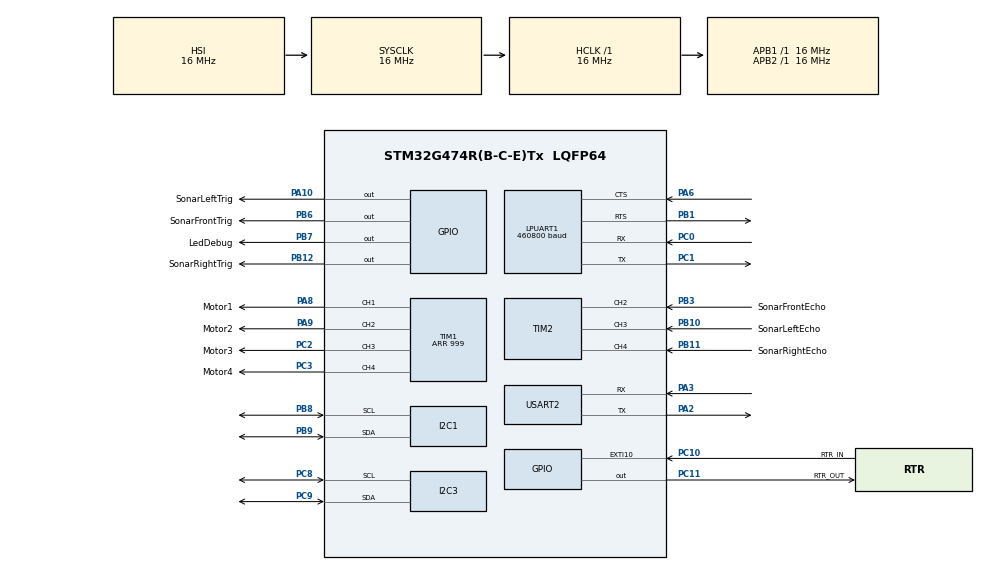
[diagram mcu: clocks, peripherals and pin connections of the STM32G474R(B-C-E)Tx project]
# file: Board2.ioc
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FREERTOS.Events01=flagsOS,Static,flagsOSControlBlock
FREERTOS.Tasks01=ReadController,40,1024,StartReadController,Default,NULL,Static,ReadControllerBuffer,ReadControllerControlBlock;ReadGyroscope,32,1024,StartReadGyroscope,Default,NULL,Static,ReadGyroscopeBuffer,ReadGyroscopeControlBlock;Supervisor,24,2048,StartSupervisor,Default,NULL,Static,SupervisorBuffer,SupervisorControlBlock;ReadSonars,8,1024,StartReadSonars,Default,NULL,Static,ReadSonarsBuffer,ReadSonarsControlBlock;StartSegger,47,128,StartSeggerTask,Default,NULL,Static,StartSeggerBuffer,StartSeggerControlBlock;Synchronization,46,128,StartSynchronization,Default,NULL,Static,SynchronizationBuffer,SynchronizationControlBlock;PollingServer,45,2048,StartPollingServer,Default,NULL,Static,PollingServerBuffer,PollingServerControlBlock;SupervisorDeg,24,2048,StartSupervisorDeg,Default,NULL,Static,SupervisorDegBuffer,SupervisorDegControlBlock
FREERTOS.Timers01=SonarMonitoring,SonarTimeout,osTimerOnce,Default,NULL,Static,SonarMonitoringControlBlock
FREERTOS.configUSE_NEWLIB_REENTRANT=1
I2C1.Speed=40
I2C1.Timing=0x005086FF
I2C3.Speed=40
I2C3.Timing=0x005086FF
LPUART1.BaudRate=460800
Mcu.Family=STM32G4
Mcu.Name=STM32G474R(B-C-E)Tx
Mcu.Package=LQFP64
NVIC.EXTI15_10_IRQn=true\:5\:0\:false\:false\:true\:true\:true\:true\:true
NVIC.I2C1_ER_IRQn=true\:5\:0\:false\:false\:true\:true\:true\:true\:true
NVIC.I2C1_EV_IRQn=true\:5\:0\:false\:false\:true\:true\:true\:true\:true
NVIC.I2C3_ER_IRQn=true\:5\:0\:false\:false\:true\:true\:true\:true\:true
NVIC.I2C3_EV_IRQn=true\:5\:0\:false\:false\:true\:true\:true\:true\:true
NVIC.LPUART1_IRQn=true\:5\:0\:false\:false\:true\:true\:true\:true\:true
NVIC.PriorityGroup=NVIC_PRIORITYGROUP_4
NVIC.TIM2_IRQn=true\:5\:0\:false\:false\:true\:true\:true\:true\:true
NVIC.TIM6_DAC_IRQn=true\:15\:0\:false\:false\:true\:false\:false\:true\:true
NVIC.TIM7_DAC_IRQn=true\:5\:0\:false\:false\:true\:true\:true\:true\:true
NVIC.TimeBase=TIM6_DAC_IRQn
NVIC.TimeBaseIP=TIM6
PA10.GPIO_Label=SonarLeftTrig
PA10.Signal=GPIO_Output
PA2.Mode=Asynchronous
PA2.Signal=USART2_TX
PA3.Mode=Asynchronous
PA3.Signal=USART2_RX
PA6.Mode=CTS_RTS
PA6.Signal=LPUART1_CTS
PA8.GPIO_Label=Motor1
PA8.Signal=S_TIM1_CH1
PA9.GPIO_Label=Motor2
PA9.Signal=S_TIM1_CH2
PB1.Mode=CTS_RTS
PB1.Signal=LPUART1_RTS
PB10.GPIO_Label=SonarLeftEcho
PB10.Signal=S_TIM2_CH3
PB11.GPIO_Label=SonarRightEcho
PB11.Signal=S_TIM2_CH4
PB12.GPIO_Label=SonarRightTrig
PB12.Signal=GPIO_Output
PB3.GPIO_Label=SonarFrontEcho
PB3.Signal=S_TIM2_CH2
PB6.GPIO_Label=SonarFrontTrig
PB6.Signal=GPIO_Output
PB7.GPIO_Label=LedDebug
PB7.Signal=GPIO_Output
PB8-BOOT0.GPIO_Pu=GPIO_PULLUP
PB8-BOOT0.Mode=I2C
PB8-BOOT0.Signal=I2C1_SCL
PB9.GPIO_Pu=GPIO_PULLUP
PB9.Mode=I2C
PB9.Signal=I2C1_SDA
PC0.GPIO_PuPd=GPIO_PULLUP
PC0.Mode=Asynchronous
PC0.Signal=LPUART1_RX
PC1.Mode=Asynchronous
PC1.Signal=LPUART1_TX
PC10.GPIO_Label=RTR_IN
PC10.GPIO_ModeDefaultEXTI=GPIO_MODE_IT_RISING
PC10.GPIO_PuPd=GPIO_PULLDOWN
PC10.Signal=GPXTI10
PC11.GPIO_Label=RTR_OUT
PC11.Signal=GPIO_Output
PC2.GPIO_Label=Motor3
PC2.Signal=S_TIM1_CH3
PC3.GPIO_Label=Motor4
PC3.Signal=S_TIM1_CH4
PC8.Mode=I2C
PC8.Signal=I2C3_SCL
PC9.Mode=I2C
PC9.Signal=I2C3_SDA
ProjectManager.HeapSize=0x200
ProjectManager.StackSize=0x400
ProjectManager.TargetToolchain=STM32CubeIDE
RCC.AHBFreq_Value=16000000
RCC.APB1Freq_Value=16000000
RCC.APB1TimFreq_Value=16000000
RCC.APB2Freq_Value=16000000
RCC.APB2TimFreq_Value=16000000
RCC.CortexFreq_Value=16000000
RCC.EXTERNAL_CLOCK_VALUE=12288000
RCC.HCLKFreq_Value=16000000
RCC.HSE_VALUE=8000000
RCC.HSI48_VALUE=48000000
RCC.HSI_VALUE=16000000
RCC.LSE_VALUE=32768
RCC.SYSCLKFreq_VALUE=16000000
RCC.USBFreq_Value=64000000
RCC.VCOOutputFreq_Value=128000000
SH.S_TIM1_CH1.0=TIM1_CH1,PWM Generation1 CH1
SH.S_TIM1_CH2.0=TIM1_CH2,PWM Generation2 CH2
SH.S_TIM1_CH3.0=TIM1_CH3,PWM Generation3 CH3
SH.S_TIM1_CH4.0=TIM1_CH4,PWM Generation4 CH4
SH.S_TIM2_CH2.0=TIM2_CH2,Input_Capture2_from_TI2
SH.S_TIM2_CH3.0=TIM2_CH3,Input_Capture3_from_TI3
SH.S_TIM2_CH4.0=TIM2_CH4,Input_Capture4_from_TI4
TIM1.Channel-PWM\ Generation1\ CH1=TIM_CHANNEL_1
TIM1.Channel-PWM\ Generation2\ CH2=TIM_CHANNEL_2
TIM1.Channel-PWM\ Generation3\ CH3=TIM_CHANNEL_3
TIM1.Channel-PWM\ Generation4\ CH4=TIM_CHANNEL_4
TIM1.PeriodNoDither=999
TIM1.PulseNoDither_1=757
TIM1.PulseNoDither_2=757
TIM1.PulseNoDither_3=757
TIM1.PulseNoDither_4=757
TIM2.Channel-Input_Capture2_from_TI2=TIM_CHANNEL_2
TIM2.Channel-Input_Capture3_from_TI3=TIM_CHANNEL_3
TIM2.Channel-Input_Capture4_from_TI4=TIM_CHANNEL_4
TIM7.Prescaler=65535
USART2.VirtualMode-Asynchronous=VM_ASYNC
VP_CRC_VS_CRC.Mode=CRC_Activate
VP_FREERTOS_VS_CMSIS_V2.Mode=CMSIS_V2
VP_SYS_VS_DBSignals.Mode=DisableDeadBatterySignals
VP_SYS_VS_tim6.Mode=TIM6
VP_TIM7_VS_ClockSourceINT.Mode=Enable_Timer
board=custom

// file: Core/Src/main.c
/* USER CODE BEGIN Header */
/**
 ******************************************************************************
 * @file           : main.c
 * @brief          : Main program body
 ******************************************************************************
 * @attention
 *
 * Copyright (c) 2025 STMicroelectronics.
 * All rights reserved.
 *
 * This software is licensed under terms that can be found in the LICENSE file
 * in the root directory of this software component.
 * If no LICENSE file comes with this software, it is provided AS-IS.
 *
 ******************************************************************************
 */
/* USER CODE END Header */
#include "main.h"
#include "cmsis_os.h"
#include "crc.h"
#include "i2c.h"
#include "usart.h"
#include "tim.h"
#include "gpio.h"

/* USER CODE BEGIN Includes */

/* UART Handler for communication inter board */
#include "uart_functions.h"

/* Simulink Model */
#include "Board2.h"

/* Drivers */
#include "pad_receiver.h"
#include "gyroscope_init.h" // #include "mpu6050.h"
#include "sonar_init.h"     // #include "HCSR04.h"
#include "motors_init.h"
/*
#include "motors_control.h"
#include "motor_constants.h"
#include "regulator.h"
*/
#include "timer.h"

/* Utility */
#include "DWT.h"
#include "print.h"
#include "debug.h"
#include "phase.h"

/* USER CODE END Includes */

/* USER CODE BEGIN PD */

#define TIM7_IN_FREQUENCY (16000000) /* 16 MHz */

/* --- DEBUG CONFIGURATIONS --- */

#if VERBOSE_DEBUG_MAIN == 1
#define PRINT_DBG(msg) printMsg(msg)
#else
#define PRINT_DBG(msg) ((void)0)
#endif
/* ---------------------------- */
/* USER CODE END PD */

/* USER CODE BEGIN PV */

volatile system_phase_t system_phase = SYNCHRONIZATION_PHASE;

timer_t timerSupervisor;

/* USER CODE END PV */

void SystemClock_Config(void);
void MX_FREERTOS_Init(void);

int main(void)
{

  /* MCU Configuration--------------------------------------------------------*/

  /* Reset of all peripherals, Initializes the Flash interface and the Systick. */
  HAL_Init();

  /* Configure the system clock */
  SystemClock_Config();

  /* Initialize all configured peripherals */
  MX_GPIO_Init();
  MX_LPUART1_UART_Init();
  MX_USART2_UART_Init();
  MX_CRC_Init();
  MX_I2C1_Init();
  MX_TIM2_Init();
  MX_TIM1_Init();
  MX_I2C3_Init();
  MX_TIM7_Init();
  /* USER CODE BEGIN 2 */

    /* Init DWT for WCET measurement */

	DWT_Init();

	/* Set UART Handlers */

	setComunicationHandler(&hlpuart1);

	setPrinterHandler(&huart2);

#if VERBOSE_DEBUG_MAIN

	clearScreen();

#endif

	PRINT_DBG("BEGIN B2 INIT...\r\n");

	/* Init Simulink Model with default values */
	Board2_initialize();
	Board2_U.remoteController = (BUS_RemoteController ) { 0, 0, 0 };
	Board2_U.gyroscope = 0;
	Board2_U.sonar = (BUS_Sonar ) { 0, 0, 0 };
	Board2_U.areSensorsValid = 0;
	Board2_U.timeoutOccurred = 0;

	/* Init drivers */
	if (Sonar_InitAll() == 1) {
		PRINT_DBG("ERROR SONAR INIT\r\n");
	}
	StartSonarTimer();

	if (MPU6050_Init(&hi2c3) == 1) {
		PRINT_DBG("ERROR GYRO INIT\r\n");
	}

	Motors_InitAll();
	Motors_StartAllPwm();
	Motors_SetDefaultCcr(720);

	if(timer_init(&timerSupervisor, &htim7, TIM7_IN_FREQUENCY) != TIMER_OK){return -1;}

  /* USER CODE END 2 */

  /* Init scheduler */
  osKernelInitialize();  /* Call init function for freertos objects (in cmsis_os2.c) */
  MX_FREERTOS_Init();

  /* Start scheduler */
  osKernelStart();

  /* We should never get here as control is now taken by the scheduler */

  /* Infinite loop */
	while (1) {

	}
}

void SystemClock_Config(void)
{
  RCC_OscInitTypeDef RCC_OscInitStruct = {0};
  RCC_ClkInitTypeDef RCC_ClkInitStruct = {0};

  /** Configure the main internal regulator output voltage
  */
  HAL_PWREx_ControlVoltageScaling(PWR_REGULATOR_VOLTAGE_SCALE1);

  /** Initializes the RCC Oscillators according to the specified parameters
  * in the RCC_OscInitTypeDef structure.
  */
  RCC_OscInitStruct.OscillatorType = RCC_OSCILLATORTYPE_HSI;
  RCC_OscInitStruct.HSIState = RCC_HSI_ON;
  RCC_OscInitStruct.HSICalibrationValue = RCC_HSICALIBRATION_DEFAULT;
  RCC_OscInitStruct.PLL.PLLState = RCC_PLL_NONE;
  if (HAL_RCC_OscConfig(&RCC_OscInitStruct) != HAL_OK)
  {
    Error_Handler();
  }

  /** Initializes the CPU, AHB and APB buses clocks
  */
  RCC_ClkInitStruct.ClockType = RCC_CLOCKTYPE_HCLK|RCC_CLOCKTYPE_SYSCLK
                              |RCC_CLOCKTYPE_PCLK1|RCC_CLOCKTYPE_PCLK2;
  RCC_ClkInitStruct.SYSCLKSource = RCC_SYSCLKSOURCE_HSI;
  RCC_ClkInitStruct.AHBCLKDivider = RCC_SYSCLK_DIV1;
  RCC_ClkInitStruct.APB1CLKDivider = RCC_HCLK_DIV1;
  RCC_ClkInitStruct.APB2CLKDivider = RCC_HCLK_DIV1;

  if (HAL_RCC_ClockConfig(&RCC_ClkInitStruct, FLASH_LATENCY_0) != HAL_OK)
  {
    Error_Handler();
  }
}

void HAL_TIM_PeriodElapsedCallback(TIM_HandleTypeDef *htim)
{
  if (htim->Instance == TIM6)
  {
    HAL_IncTick();
  }
  /* USER CODE BEGIN Callback 1 */
	if (htim->Instance == TIM7) {
		static uint8_t first_time = 0;

		if (first_time == 0) {
			first_time = 1;
			return;
		} else {
			timer_period_elapsed(&timerSupervisor, htim);
			Board2_U.timeoutOccurred++;
			timer_reset(&timerSupervisor);
#if VERBOSE_DEBUG_IT == 1
			printMsg("SupervisorB2 WCET exceeded!\n\n");
#endif
		}
	}

  /* USER CODE END Callback 1 */
}

void Error_Handler(void)
{
	__disable_irq();
	while (1) {
	}
}

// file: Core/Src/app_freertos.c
/* USER CODE BEGIN Header */
/**
 ******************************************************************************
 * File Name          : app_freertos.c
 * Description        : Code for freertos applications
 ******************************************************************************
 * @attention
 *
 * Copyright (c) 2026 STMicroelectronics.
 * All rights reserved.
 *
 * This software is licensed under terms that can be found in the LICENSE file
 * in the root directory of this software component.
 * If no LICENSE file comes with this software, it is provided AS-IS.
 *
 ******************************************************************************
 */
/* USER CODE END Header */

#include "FreeRTOS.h"
#include "task.h"
#include "main.h"
#include "cmsis_os.h"

/* USER CODE BEGIN Includes */

/* OS */
#include "scheduling_constants.h"
#include "event_flags_constant.h"
#include "sync_start.h"
#include "freeRTOS_functions.h"

/* Simulink Model */
#include "Board2.h"

/* Drivers */
#include "pad_receiver.h"
#include "gyroscope_init.h" // #include "mpu6050.h"
#include "sonar_init.h"     // #include "HCSR04.h"
#include "motors_init.h"
/*
#include "motors_control.h"
#include "motor_constants.h"
#include "regulator.h"
*/
#include "timer.h"

/* Utility */
#include "DWT.h"
#include "print.h"
#include "debug.h"
#include "phase.h"

/* USER CODE END Includes */

typedef StaticTask_t osStaticThreadDef_t;
typedef StaticTimer_t osStaticTimerDef_t;
typedef StaticEventGroup_t osStaticEventGroupDef_t;

/* USER CODE BEGIN PD */

#define MAX_WAIT_SONAR (40)

#if SEGGER_BUILD
#include "SEGGER_SYSVIEW_FreeRTOS.h"
#endif

/* USER CODE END PD */

/* USER CODE BEGIN Variables */

/* Global start tick (set after synchronization) */
volatile uint32_t start_tick = 0;

/* MISS COUNTERS */
volatile uint32_t MissReadController = 0;
volatile uint32_t MissReadGyroscope = 0;
volatile uint32_t MissSupervisor = 0;
volatile uint32_t MissReadSonars = 0;
volatile uint32_t MissPollingServer = 0;

/* STATUS FLAGS */
uint8_t pad_receiver_read_failed = 0;
uint8_t gyroscope_read_failed = 0;
uint8_t sonar_read_failed = 0;

/* DEFAULT VALUES */
const BUS_RemoteController default_controller = { 0, 0, 0 };

/* Timer Handler from main.c */
extern timer_t timerSupervisor;

/* USER CODE END Variables */
/* Definitions for ReadController */
osThreadId_t ReadControllerHandle;
uint32_t ReadControllerBuffer[ 1024 ];
osStaticThreadDef_t ReadControllerControlBlock;
const osThreadAttr_t ReadController_attributes = {
  .name = "ReadController",
  .stack_mem = &ReadControllerBuffer[0],
  .stack_size = sizeof(ReadControllerBuffer),
  .cb_mem = &ReadControllerControlBlock,
  .cb_size = sizeof(ReadControllerControlBlock),
  .priority = (osPriority_t) osPriorityHigh,
};
/* Definitions for ReadGyroscope */
osThreadId_t ReadGyroscopeHandle;
uint32_t ReadGyroscopeBuffer[ 1024 ];
osStaticThreadDef_t ReadGyroscopeControlBlock;
const osThreadAttr_t ReadGyroscope_attributes = {
  .name = "ReadGyroscope",
  .stack_mem = &ReadGyroscopeBuffer[0],
  .stack_size = sizeof(ReadGyroscopeBuffer),
  .cb_mem = &ReadGyroscopeControlBlock,
  .cb_size = sizeof(ReadGyroscopeControlBlock),
  .priority = (osPriority_t) osPriorityAboveNormal,
};
/* Definitions for Supervisor */
osThreadId_t SupervisorHandle;
uint32_t SupervisorBuffer[ 2048 ];
osStaticThreadDef_t SupervisorControlBlock;
const osThreadAttr_t Supervisor_attributes = {
  .name = "Supervisor",
  .stack_mem = &SupervisorBuffer[0],
  .stack_size = sizeof(SupervisorBuffer),
  .cb_mem = &SupervisorControlBlock,
  .cb_size = sizeof(SupervisorControlBlock),
  .priority = (osPriority_t) osPriorityNormal,
};
/* Definitions for ReadSonars */
osThreadId_t ReadSonarsHandle;
uint32_t ReadSonarsBuffer[ 1024 ];
osStaticThreadDef_t ReadSonarsControlBlock;
const osThreadAttr_t ReadSonars_attributes = {
  .name = "ReadSonars",
  .stack_mem = &ReadSonarsBuffer[0],
  .stack_size = sizeof(ReadSonarsBuffer),
  .cb_mem = &ReadSonarsControlBlock,
  .cb_size = sizeof(ReadSonarsControlBlock),
  .priority = (osPriority_t) osPriorityLow,
};
/* Definitions for StartSegger */
osThreadId_t StartSeggerHandle;
uint32_t StartSeggerBuffer[ 128 ];
osStaticThreadDef_t StartSeggerControlBlock;
const osThreadAttr_t StartSegger_attributes = {
  .name = "StartSegger",
  .stack_mem = &StartSeggerBuffer[0],
  .stack_size = sizeof(StartSeggerBuffer),
  .cb_mem = &StartSeggerControlBlock,
  .cb_size = sizeof(StartSeggerControlBlock),
  .priority = (osPriority_t) osPriorityHigh7,
};
/* Definitions for Synchronization */
osThreadId_t SynchronizationHandle;
uint32_t SynchronizationBuffer[ 128 ];
osStaticThreadDef_t SynchronizationControlBlock;
const osThreadAttr_t Synchronization_attributes = {
  .name = "Synchronization",
  .stack_mem = &SynchronizationBuffer[0],
  .stack_size = sizeof(SynchronizationBuffer),
  .cb_mem = &SynchronizationControlBlock,
  .cb_size = sizeof(SynchronizationControlBlock),
  .priority = (osPriority_t) osPriorityHigh6,
};
/* Definitions for PollingServer */
osThreadId_t PollingServerHandle;
uint32_t PollingServerBuffer[ 2048 ];
osStaticThreadDef_t PollingServerControlBlock;
const osThreadAttr_t PollingServer_attributes = {
  .name = "PollingServer",
  .stack_mem = &PollingServerBuffer[0],
  .stack_size = sizeof(PollingServerBuffer),
  .cb_mem = &PollingServerControlBlock,
  .cb_size = sizeof(PollingServerControlBlock),
  .priority = (osPriority_t) osPriorityHigh5,
};
/* Definitions for SupervisorDeg */
osThreadId_t SupervisorDegHandle;
uint32_t SupervisorDegBuffer[ 2048 ];
osStaticThreadDef_t SupervisorDegControlBlock;
const osThreadAttr_t SupervisorDeg_attributes = {
  .name = "SupervisorDeg",
  .stack_mem = &SupervisorDegBuffer[0],
  .stack_size = sizeof(SupervisorDegBuffer),
  .cb_mem = &SupervisorDegControlBlock,
  .cb_size = sizeof(SupervisorDegControlBlock),
  .priority = (osPriority_t) osPriorityNormal,
};
/* Definitions for SonarMonitoring */
osTimerId_t SonarMonitoringHandle;
osStaticTimerDef_t SonarMonitoringControlBlock;
const osTimerAttr_t SonarMonitoring_attributes = {
  .name = "SonarMonitoring",
  .cb_mem = &SonarMonitoringControlBlock,
  .cb_size = sizeof(SonarMonitoringControlBlock),
};
/* Definitions for flagsOS */
osEventFlagsId_t flagsOSHandle;
osStaticEventGroupDef_t flagsOSControlBlock;
const osEventFlagsAttr_t flagsOS_attributes = {
  .name = "flagsOS",
  .cb_mem = &flagsOSControlBlock,
  .cb_size = sizeof(flagsOSControlBlock),
};

/* USER CODE BEGIN FunctionPrototypes */

/* SCHEDULING FUNCTIONS */
static uint32_t ms_to_ticks(uint32_t ms);
static void periodic_wait(uint32_t *next_release, uint32_t period_ticks,
		volatile uint32_t *miss_counter);

/* ERROR DRIVER FUNCTIONS */
static inline void error_pad_receiver(void);
static inline void error_gyroscope(void);
static inline void error_sonar(void);

/* PRODUCTION FUNCTIONS */
static inline void manage_fake_sonar_toggle(void);

/* USER CODE END FunctionPrototypes */

void StartReadController(void *argument);
void StartReadGyroscope(void *argument);
void StartSupervisor(void *argument);
void StartReadSonars(void *argument);
void StartSeggerTask(void *argument);
void StartSynchronization(void *argument);
void StartPollingServer(void *argument);
void StartSupervisorDeg(void *argument);
void SonarTimeout(void *argument);

void MX_FREERTOS_Init(void); /* (MISRA C 2004 rule 8.1) */

void MX_FREERTOS_Init(void) {

  /* Create the timer(s) */
  /* creation of SonarMonitoring */
  SonarMonitoringHandle = osTimerNew(SonarTimeout, osTimerOnce, NULL, &SonarMonitoring_attributes);

  /* USER CODE BEGIN RTOS_TIMERS */
	timer_set_period(&timerSupervisor, WCET_SUPERVISOR);
  /* USER CODE END RTOS_TIMERS */

  /* Create the thread(s) */
  /* creation of ReadController */
  ReadControllerHandle = osThreadNew(StartReadController, NULL, &ReadController_attributes);

  /* creation of ReadGyroscope */
  ReadGyroscopeHandle = osThreadNew(StartReadGyroscope, NULL, &ReadGyroscope_attributes);

  /* creation of Supervisor */
  SupervisorHandle = osThreadNew(StartSupervisor, NULL, &Supervisor_attributes);

  /* creation of ReadSonars */
  ReadSonarsHandle = osThreadNew(StartReadSonars, NULL, &ReadSonars_attributes);

  /* creation of StartSegger */
  StartSeggerHandle = osThreadNew(StartSeggerTask, NULL, &StartSegger_attributes);

  /* creation of Synchronization */
  SynchronizationHandle = osThreadNew(StartSynchronization, NULL, &Synchronization_attributes);

  /* creation of PollingServer */
  PollingServerHandle = osThreadNew(StartPollingServer, NULL, &PollingServer_attributes);

  /* creation of SupervisorDeg */
  SupervisorDegHandle = osThreadNew(StartSupervisorDeg, NULL, &SupervisorDeg_attributes);

  /* Create the event(s) */
  /* creation of flagsOS */
  flagsOSHandle = osEventFlagsNew(&flagsOS_attributes);

  /* USER CODE BEGIN RTOS_EVENTS */
	Sync_Init(flagsOSHandle,
				RTR_IN_GPIO_Port, RTR_IN_Pin,
	            RTR_OUT_GPIO_Port, RTR_OUT_Pin,
	            FLAG_START, FLAG_SYNC, FLAG_ACK);
  /* USER CODE END RTOS_EVENTS */

}

void StartReadController(void *argument)
{
  /* USER CODE BEGIN StartReadController */
#if RUN_READ_CONTROLLER

	Sync_WaitStart();

	const uint32_t T = ms_to_ticks(T_REMOTE_CONTROLLER);
	uint32_t next = start_tick;

	/* Return code of the last I2C request:
	 * PAD_OK  -> request started successfully (asynchronous reception in progress)
	 * PAD_ERR -> request not started (I2C busy or HAL start error)
	 */
	int8_t result = PAD_ERR;

	/* Infinite loop */
	for (;;) {

#if REAL_TASK

		/* Start an asynchronous I2C read from the remote controller.
		 * Note: PAD_OK only means the reception was successfully started.
		 * The final outcome (success/error) is reported later via callbacks
		 * and can be eventually checked through PadReceiver_GetStatus().
		 */
		result = PadReceiver_Request();

		/* Handle immediate start failure:
		 * If the request could not be started (bus busy or HAL error),
		 * raise an error flag to notify other tasks/components.
		 */
		if (result == PAD_ERR) {
            error_pad_receiver();
			// osEventFlagsSet(flagsOSHandle, FLAG_PAD_ERROR);
            // No need to use the Polling Server for error handling
		}

#else
		HAL_Delay(WCET_CONTROLLER);
#endif

		/* Wait until next period and track deadline miss if any */
		periodic_wait(&next, T, &MissReadController);
	}
#endif

	osThreadTerminate(osThreadGetId());

  /* USER CODE END StartReadController */
}

void StartReadGyroscope(void *argument)
{
  /* USER CODE BEGIN StartReadGyroscope */
#if RUN_READ_GYROSCOPE

	Sync_WaitStart();

	const uint32_t T = ms_to_ticks(T_GYROSCOPE);
	uint32_t next = start_tick;

	/* Return code of the last gyroscope read request:
	 * MPU_OK  -> request started successfully (asynchronous I2C reception in progress)
	 * MPU_ERR -> request not started (I2C busy or HAL start error)
	 *
	 * Note: MPU_OK does NOT mean that MPU6050_Yaw has been updated yet.
	 * The final outcome is provided later by callbacks / driver status.
	 */
	int8_t result = MPU_ERR;

	/* Infinite loop */
	for (;;) {

#if REAL_TASK

		/* Start an asynchronous read of the yaw value from the MPU6050 via I2C interrupt.
		 * If the request starts correctly, the driver will update MPU6050_Yaw later
		 * (typically in the Rx complete callback).
		 */
		result = MPU6050_Read_Yaw_IT(&hi2c3, &MPU6050_Yaw);

		/* Handle immediate start failure:
		 * If the read request cannot be started (bus busy or HAL error),
		 * raise an error flag to notify other tasks/components.
		 */
		if (result == MPU_ERR) {
			error_gyroscope();
			// osEventFlagsSet(flagsOSHandle, FLAG_GYRO_ERROR);
			// No need to use the Polling Server for error handling
		}

#else
		HAL_Delay(WCET_GYROSCOPE);
#endif

		/* Wait until next period and track deadline miss if any */
		periodic_wait(&next, T, &MissReadGyroscope);
	}
#endif
	osThreadTerminate(osThreadGetId());

  /* USER CODE END StartReadGyroscope */
}

void StartSupervisor(void *argument)
{
  /* USER CODE BEGIN StartSupervisor */
#if RUN_SUPERVISOR

	Sync_WaitStart();

	const uint32_t T = ms_to_ticks(T_SUPERVISOR);
	uint32_t next = start_tick;

	periodic_wait(&next, T, &MissSupervisor);  // Skip first communication

	/* Infinite loop */
	for (;;) {

		/* Convert singular errors into global flags for the Simulink model */
		uint8_t temp = 0;
		temp |= (pad_receiver_read_failed & 0x01) << 0;
		temp |= (gyroscope_read_failed     & 0x01) << 1;
		temp |= (sonar_read_failed        & 0x01) << 2;
		//Board2_U.areSensorsValid = temp;

		/* Clear previous error flags */
		pad_receiver_read_failed = 0;
		gyroscope_read_failed = 0;
		sonar_read_failed = 0;

		manage_fake_sonar_toggle();

		/* START TIMER FOR MONITORING WCET */
		//timer_start(&timerSupervisor);

		do {
			Board2_step();
		} while (Board2_Y.supervision_ended != 1);

		/* STOP TIMER FOR MONITORING WCET */
		//timer_reset(&timerSupervisor);

		/* BEGIN PRINT SECTION */
/*
		static uint32_t cycle_count = 0;
		cycle_count++;

		printMsg("Cycle Count B2: ");
		printInt((int32_t)cycle_count);
		printNewLine();

		if (cycle_count >= 100) { // Approx 2 seconds (50ms * 40)
			printGlobalState(&Board2_Y.board1GlobalState);
			printDecision(&Board2_Y.board1Decision);
			cycle_count = 0;
		}
*/
		/* END PRINT SECTION */

		if(Board2_Y.board1Decision.roverState == EMERGENCY ||
				Board2_Y.board1Decision.roverState == FAULTY_B1_DEGRADED_B2){
			break;
		}
		periodic_wait(&next, T, &MissSupervisor);
	}
#endif

	osThreadTerminate(osThreadGetId());

  /* USER CODE END StartSupervisor */
}

void StartReadSonars(void *argument)
{
  /* USER CODE BEGIN StartReadSonars */
#if RUN_READ_SONARS

	Sync_WaitStart();

	const uint32_t T = ms_to_ticks(T_SONAR);
	uint32_t next = start_tick;

	const uint32_t TIMEOUT_TICKS = ms_to_ticks(MAX_WAIT_SONAR);
	/* Infinite loop */
	for (;;) {

#if REAL_TASK

		hcsr04_trigger(&sonarLeft);
		hcsr04_trigger(&sonarFront);
		hcsr04_trigger(&sonarRight);

		/* Safe stop and start timer */
#if SEGGER_BUILD == 0 //pezzotto per evitare conflitti con SysView
		osTimerStop(SonarMonitoringHandle);
		osTimerStart(SonarMonitoringHandle, TIMEOUT_TICKS);
#endif

#else
		HAL_Delay(WCET_SONAR);
#endif

		/* Wait until next period and track deadline miss if any */
		periodic_wait(&next, T, &MissReadSonars);
	}

#endif

	osThreadTerminate(osThreadGetId());
  /* USER CODE END StartReadSonars */
}

void StartSeggerTask(void *argument)
{
  /* USER CODE BEGIN StartSeggerTask */

#if SEGGER_BUILD
	SEGGER_SYSVIEW_Conf();
	SEGGER_SYSVIEW_Start();
	#endif

	/* Infinite loop */
	for (;;) {
		break;
	}
	osThreadTerminate(osThreadGetId());

  /* USER CODE END StartSeggerTask */
}

/* USER CODE BEGIN Header_StartSynchronization */
// This feature is extern to the library behavior
extern volatile system_phase_t system_phase;
/**
 * @brief Function implementing the Synchronization thread.
 * @param argument: Not used
 * @retval None
 */
/* USER CODE END Header_StartSynchronization */
void StartSynchronization(void *argument)
{
  /* USER CODE BEGIN StartSynchronization */
#if RUN_SYNCHRONIZATION

	system_phase = SYNCHRONIZATION_PHASE;

	SyncThread();

	/* Synchronization completed: define common time-base for periodic tasks */
	start_tick = osKernelGetTickCount();

	system_phase = WORKING_PHASE;

	HAL_GPIO_WritePin(RTR_OUT_GPIO_Port, RTR_OUT_Pin, GPIO_PIN_RESET);

	#if LED_DEBUG
	HAL_GPIO_WritePin(LedDebug_GPIO_Port, LedDebug_Pin, GPIO_PIN_SET);
	#endif

#endif

	// Termination, if clock drift is not critical
	osThreadTerminate(osThreadGetId());

  /* USER CODE END StartSynchronization */
}

void StartPollingServer(void *argument)
{
  /* USER CODE BEGIN StartPollingServer */
#if RUN_POLLING_SERVER

    Sync_WaitStart();

    const uint32_t T = ms_to_ticks(T_POLLING_SERVER);
	uint32_t next = start_tick;

    /* Infinite loop */
    for (;;) {

#if REAL_TASK

        /* Upon server activation, process all pending requests, if any */
        uint32_t flags = osEventFlagsWait(flagsOSHandle,
        FLAGS_POLLING_SERVER_WAIT,
        osFlagsWaitAny | osFlagsNoClear, 0);

        if ((int32_t) flags > 0) {

            /* ---------------- REMOTE CONTROLLER ---------------- */
            if (flags & FLAG_PAD_OK) {
                PadReceiver_Read(&Board2_U.remoteController);
                pad_receiver_read_failed = 0;
                // Clear both to prioritize OK and prevent double handling
                osEventFlagsClear(flagsOSHandle, FLAG_PAD_OK | FLAG_PAD_ERROR);
            }
            else if (flags & FLAG_PAD_ERROR) {
                error_pad_receiver();
                osEventFlagsClear(flagsOSHandle, FLAG_PAD_ERROR);
            }

            /* ------------------- GYROSCOPE ------------------- */
            if (flags & FLAG_GYRO_OK) {
                MPU6050_Process_Yaw_IT_Data();
                Board2_U.gyroscope = MPU6050_Yaw.KalmanAngleZ;
                gyroscope_read_failed = 0;
                osEventFlagsClear(flagsOSHandle, FLAG_GYRO_OK | FLAG_GYRO_ERROR);
            }
            else if (flags & FLAG_GYRO_ERROR) {
                error_gyroscope();
                osEventFlagsClear(flagsOSHandle, FLAG_GYRO_ERROR);
            }

            /* ------------------ SONAR LEFT ------------------- */
            if (flags & FLAG_SONAR_LEFT_OK) {
                hcsr04_process_distance(&sonarLeft);
                Board2_U.sonar.left = sonarLeft.distance;
                osEventFlagsClear(flagsOSHandle, FLAG_SONAR_LEFT_OK | FLAG_SONAR_LEFT_TIMEOUT);
            }
            else if (flags & FLAG_SONAR_LEFT_TIMEOUT) {
                hcsr04_reset_sonar(&sonarLeft);
                osEventFlagsClear(flagsOSHandle, FLAG_SONAR_LEFT_TIMEOUT);
            }

            /* ------------------ SONAR FRONT ------------------ */
            if (flags & FLAG_SONAR_FRONT_OK) {
                hcsr04_process_distance(&sonarFront);
                Board2_U.sonar.front = sonarFront.distance;
                osEventFlagsClear(flagsOSHandle, FLAG_SONAR_FRONT_OK | FLAG_SONAR_FRONT_TIMEOUT);
            }
            else if (flags & FLAG_SONAR_FRONT_TIMEOUT) {
                hcsr04_reset_sonar(&sonarFront);
                osEventFlagsClear(flagsOSHandle, FLAG_SONAR_FRONT_TIMEOUT);
            }

            /* ------------------ SONAR RIGHT ------------------ */
            if (flags & FLAG_SONAR_RIGHT_OK) {
                hcsr04_process_distance(&sonarRight);
                Board2_U.sonar.right = sonarRight.distance;
                osEventFlagsClear(flagsOSHandle, FLAG_SONAR_RIGHT_OK | FLAG_SONAR_RIGHT_TIMEOUT);
            }
            else if (flags & FLAG_SONAR_RIGHT_TIMEOUT) {
                hcsr04_reset_sonar(&sonarRight);
                osEventFlagsClear(flagsOSHandle, FLAG_SONAR_RIGHT_TIMEOUT);
            }

        }
#if PRINT_TASK
		static uint32_t cycle_count = 0;
		cycle_count++;

		if (cycle_count >= 100) {

		printSonar(&Board2_U.sonar);
		cycle_count = 0;
		}
#endif

#else
        Board2_U.remoteController = (BUS_RemoteController){ 0, 0, 0 };
        Board2_U.gyroscope = 32;
        Board2_U.sonar = (BUS_Sonar){ 380, 400, 380 };

        HAL_Delay(WCET_POLLING_SERVER);
#endif

#endif

        periodic_wait(&next, T, &MissPollingServer);

    }

    osThreadTerminate(osThreadGetId());

  /* USER CODE END StartPollingServer */
}

void StartSupervisorDeg(void *argument)
{
  /* USER CODE BEGIN StartSupervisorDeg */
  /* Infinite loop */
  for(;;)
  {
    break;
  }

  osThreadTerminate(osThreadGetId());
  /* USER CODE END StartSupervisorDeg */
}

/* SonarTimeout function */
void SonarTimeout(void *argument)
{
  /* USER CODE BEGIN SonarTimeout */
	// Check each sonar and set timeout flags if not done
	if (!hcsr04_is_done(&sonarLeft)) {
		osEventFlagsSet(flagsOSHandle, FLAG_SONAR_LEFT_TIMEOUT);
	}
	if (!hcsr04_is_done(&sonarFront)) {
		osEventFlagsSet(flagsOSHandle, FLAG_SONAR_FRONT_TIMEOUT);
	}
	if (!hcsr04_is_done(&sonarRight)) {
		osEventFlagsSet(flagsOSHandle, FLAG_SONAR_RIGHT_TIMEOUT);
	}
  /* USER CODE END SonarTimeout */
}

/* USER CODE BEGIN Application */

/* SCHEDULING FUNCTIONS */

static uint32_t ms_to_ticks(uint32_t ms) {
	uint32_t hz = osKernelGetTickFreq();
	return (ms * hz + 999u) / 1000u;
}

static void periodic_wait(uint32_t *next_release, uint32_t period_ticks,
		volatile uint32_t *miss_counter) {
	uint32_t now = osKernelGetTickCount();

	/* Calcola il prossimo rilascio */
	*next_release += period_ticks;

	/* Controllo deadline miss (safe con wrap-around) */
	if ((int32_t) (now - *next_release) > 0) {
		if (miss_counter != NULL) {
			(*miss_counter)++;
		}
	}

	/* Sleep assoluta fino al prossimo periodo */
	osDelayUntil(*next_release);
}

/* ERROR DRIVER FUNCTIONS */
static inline void error_pad_receiver(void){
	Board2_U.remoteController = default_controller;
	pad_receiver_read_failed = 1;
}

static inline void error_gyroscope(void){
	// Board2_U.gyroscope; Preserve last valid data
	gyroscope_read_failed = 1;
}
static inline void error_sonar(void){
	sonar_read_failed = 1;
}

static inline void manage_fake_sonar_toggle(void) {
	/* FAKE SONAR */
	#include "controller_masks.h"

	// 0 = enabled, 1 = disabled
	static uint8_t disable_left = 0;
	static uint8_t disable_front = 0;
	static uint8_t disable_right = 0;

	uint32_t current = Board2_U.remoteController.buttons;
	uint32_t risingEdges = (~Board2_DW.previousButtons) & current;

	/* Toggle su fronte di salita */
	if (risingEdges & DISABLE_LEFT_SONAR)
		disable_left = !disable_left;

	if (risingEdges & DISABLE_FRONT_SONAR)
		disable_front = !disable_front;

	if (risingEdges & DISABLE_RIGHT_SONAR)
		disable_right = !disable_right;

	/* Applica disabilitazione */
	if (disable_left)
		Board2_U.sonar.left = 380;

	if (disable_front)
		Board2_U.sonar.front = 380;

	if (disable_right)
		Board2_U.sonar.right = 380;

	/* END FAKE SONAR */
}

/* USER CODE END Application */
